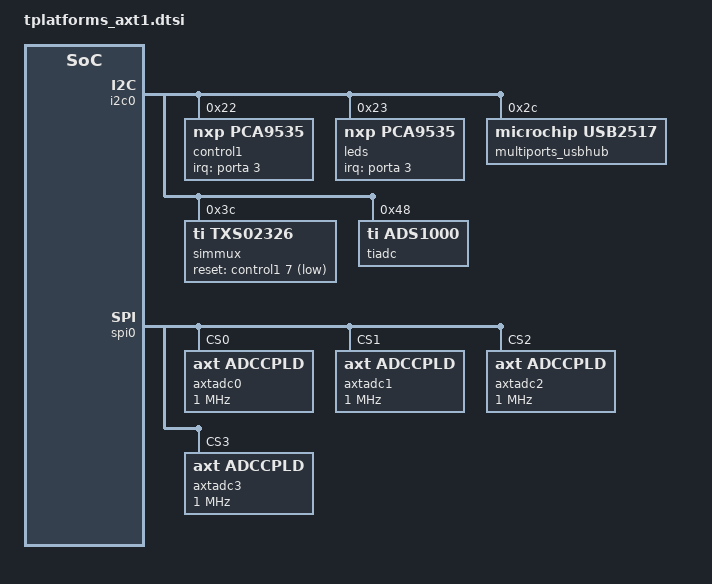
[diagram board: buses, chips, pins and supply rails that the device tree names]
/*
 * Baikal-T/T1 Axitech v1 board device tree
 *
 * Copyright (C) 2018 T-platforms JSC
 *
 * This program is free software; you can redistribute it and/or
 * modify it under the terms of the GNU General Public License
 * as published by the Free Software Foundation; either version 2
 * of the License, or (at your option) any later version.
 */

&pci {
	status = "disabled";
};

&mdio0 {
	status = "disabled";
};

&xgmac {
	status = "disabled";
};

&i2c0 {
	status = "okay";

	control1: gpioexp@22 {
		compatible = "nxp,pca9535";
		reg = <0x22>;
		gpio-controller;
		#gpio-cells = <2>;
		interrupt-parent = <&porta>;
		interrupts = <3 IRQ_TYPE_LEVEL_LOW>;
		interrupt-controller;
		#interrupt-cells = <2>;
		ngpios = <16>; /* Informative */

		sd_reset {
			line-name = "sd-reset";
			gpio-hog;
			gpios = <5 GPIO_ACTIVE_LOW>;
			output-low;
		};

		ssd_reset {
			line-name = "ssd-reset";
			gpio-hog;
			gpios = <6 GPIO_ACTIVE_LOW>;
			output-low;
		};

		gsm_reset {
			line-name = "gsm-reset";
			gpio-hog;
			gpios = <7 GPIO_ACTIVE_LOW>;
			output-low;
		};

		rs_iso_reset {
			line-name = "rs-iso-reset";
			gpio-hog;
			gpios = <12 GPIO_ACTIVE_LOW>;
			output-low;
		};
	};

	leds: gpio_exp@23 {
		compatible = "nxp,pca9535";
		reg = <0x23>;
		gpio-controller;
		#gpio-cells = <2>;
		interrupt-parent = <&porta>;
		interrupts = <3 IRQ_TYPE_LEVEL_LOW>;
		interrupt-controller;
		#interrupt-cells = <2>;
		ngpios = <16>; /* Informative */
	};

	multiports_usbhub: usb2517@2c {
		compatible = "microchip,usb2517";
		reg = <0x2c>;
		/* Disable for now, since hardwired to HIGH level */
		/*reset-gpios = <&control1 15 GPIO_ACTIVE_LOW>;*/

		self-powered;
		multi-tt;
		disable-eop;
		individual-sensing;
		individual-port-switching;
		oc-delay-us = <8000>;
		non-removable-ports = <1 2 3 4 5>;
		sp-max-total-current-microamp = <100000>;
		bp-max-total-current-microamp = <100000>;
		sp-max-removable-current-microamp = <100000>;
		bp-max-removable-current-microamp = <100000>;
		power-on-time-ms = <100>;
	};

	simmux: simmux@3c {
		compatible = "ti,txs02326";
		reg = <0x3c>;
		reset-gpios = <&control1 7 GPIO_ACTIVE_LOW>;
	};

	tiadc: ads1000@48 {
		compatible = "ti,ads1000";
		reg = <0x48>;
	};
};

&uart1 {
	status = "disabled";
};

&spi0 {
	num-cs = <4>;

	axtadc0: axtadc@0 {
		compatible = "axt,adccpld", "spidev";
		reg = <0>;
		spi-max-frequency = <1000000>;
		spi-cpha;
	};

	axtadc1: axtadc@1 {
		compatible = "axt,adccpld", "spidev";
		reg = <1>;
		spi-max-frequency = <1000000>;
		spi-cpha;
	};

	axtadc2: axtadc@2 {
		compatible = "axt,adccpld", "spidev";
		reg = <2>;
		spi-max-frequency = <1000000>;
		spi-cpha;
	};

	axtadc3: axtadc@3 {
		compatible = "axt,adccpld", "spidev";
		reg = <3>;
		spi-max-frequency = <1000000>;
		spi-cpha;
	};
};

&spi1 {
	status = "disabled";
};
